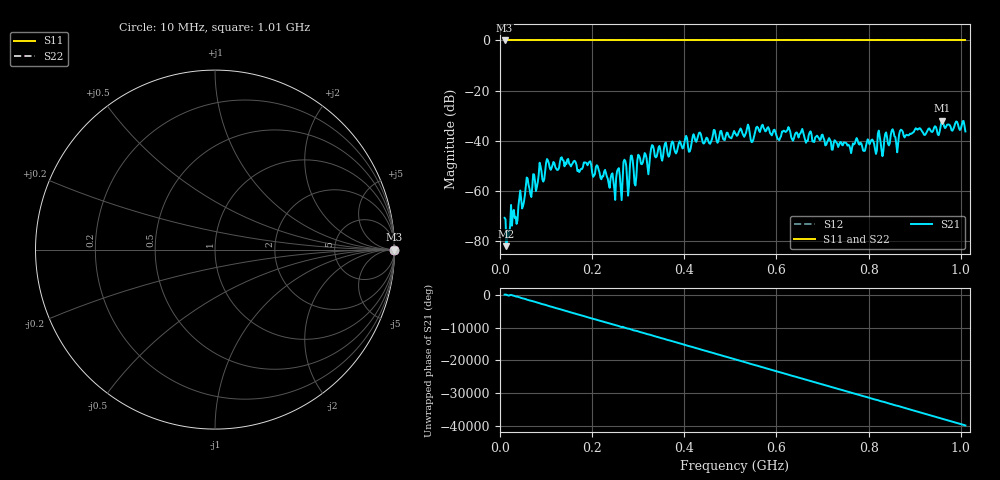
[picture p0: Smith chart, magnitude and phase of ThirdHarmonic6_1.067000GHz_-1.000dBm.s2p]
! 8/16/2025 9:38:14 AM
! C:\ANRITSUVNA\TEMP\TEMP.S2P
! CHANNEL.1
! TR.MEASUREMENT
! RAW.DATA
! RF.CORRECTION.OFF
! AVERAGING.OFF
! IF.BANDWIDTH: 5KHZ
! SWEEPTYPE:  FREQ.SWEEP(Linear)
! Reference Plane Port Info
! PORT:  PORT1  PORT2
! DISTANCE:  0  m  0  m
! TIME:  0  s  0  s
! PHASE.OFFSET:  0  deg.  0  deg.
! LOSS:  0  dB  0  dB
! REF.LOSS:  0  dB  0  dB
! REF.FREQ:  0  Hz  0  Hz
! Power Info
! POWER:  -20  dBm  -20  dBm
! EFF.POWER:  -20  dBm  -20  dBm
! SOURCE.ATTEN:  0  dB  0  dB
! TEST.ATTEN:  0  dB  0  dB
# GHZ S RI R 50.0
! FREQ.GHZ  S11RE  S11IM  S21RE  S21IM  S12RE  S12IM  S22RE  S22IM
!; PortSelection: Port_12
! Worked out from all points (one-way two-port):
!   501 points, 10 MHz to 1.01 GHz, reference 50 ohm
!   highest |S21| = -31.91 dB at 960 MHz (marker M1); lowest = -81.9 dB at 14 MHz (marker M2)
!   lowest |S11| = 0.0 dB at 10 MHz (marker M3)
!   |S11| at or under -10 dB: nowhere
!   |S22| runs from 0.0 to 0.0 dB; largest |S21 - S12| = 1
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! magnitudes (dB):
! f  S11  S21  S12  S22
! 10 MHz  0.0  -70.7  0.0  0.0
! 14 MHz  0.0  -81.9  0.0  0.0
! 36 MHz  0.0  -73.1  0.0  0.0
! 58 MHz  0.0  -54.6  0.0  0.0
! 66 MHz  0.0  -61.2  0.0  0.0
! 102 MHz  0.0  -47.2  0.0  0.0
! 178 MHz  0.0  -51.2  0.0  0.0
! 248 MHz  0.0  -58.8  0.0  0.0
! 256 MHz  0.0  -51.3  0.0  0.0
! 262 MHz  0.0  -58.9  0.0  0.0
! 270 MHz  0.0  -47.5  0.0  0.0
! 278 MHz  0.0  -61.8  0.0  0.0
! 286 MHz  0.0  -45.8  0.0  0.0
! 294 MHz  0.0  -57.8  0.0  0.0
! 302 MHz  0.0  -46.0  0.0  0.0
! 344 MHz  0.0  -42.6  0.0  0.0
! 510 MHz  0.0  -36.8  0.0  0.0
! 678 MHz  0.0  -40.2  0.0  0.0
! 790 MHz  0.0  -44.0  0.0  0.0
! 844 MHz  0.0  -41.8  0.0  0.0
! 960 MHz  0.0  -31.9  0.0  0.0
! 1.01 GHz  0.0  -36.2  0.0  0.0
